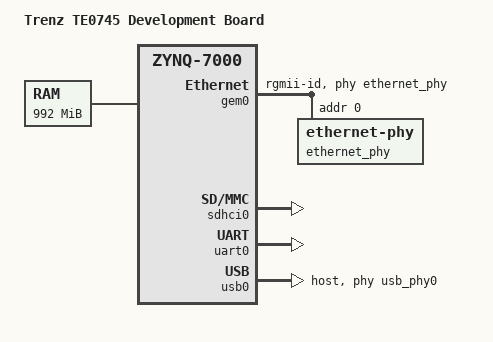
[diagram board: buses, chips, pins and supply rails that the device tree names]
/*
 * Trenz TE0745 DTS
 *
 *  Copyright (C) 2011 - 2015 Xilinx
 *  Copyright (C) 2012 National Instruments Corp.
 *
 * SPDX-License-Identifier:	GPL-2.0+
 */
/dts-v1/;
#include "zynq-7000.dtsi"
/ {
	model = "Trenz TE0745 Development Board";
	compatible = "xlnx,zynq-te0745", "xlnx,zynq-7000";
	aliases {
		ethernet0 = &gem0;
		serial0 = &uart0;
		spi0 = &qspi;
		mmc0 = &sdhci0;
	};
	memory@0 {
		device_type = "memory";
		reg = <0x0 0x3E000000>;
	};
	chosen {
		bootargs = "";
		stdout-path = "serial0:115200n8";
	};
	usb_phy0: phy0@e0002000 {
		compatible = "ulpi-phy";
		#phy-cells = <0>;
		reg = <0xe0002000 0x1000>;
		view-port = <0x0170>;
		drv-vbus;
	};
};
&clkc {
	ps-clk-frequency = <33333333>;
};
&gem0 {
	status = "okay";
	phy-mode = "rgmii-id";
	phy-handle = <&ethernet_phy>;
	ethernet_phy: ethernet-phy@0 {
		reg = <0>;
		device_type = "ethernet-phy";
	};
};
&sdhci0 {
	u-boot,dm-pre-reloc;
	status = "okay";
};
&uart0 {
	u-boot,dm-pre-reloc;
	status = "okay";
};
&usb0 {
	status = "okay";
	dr_mode = "host";
	usb-phy = <&usb_phy0>;
};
